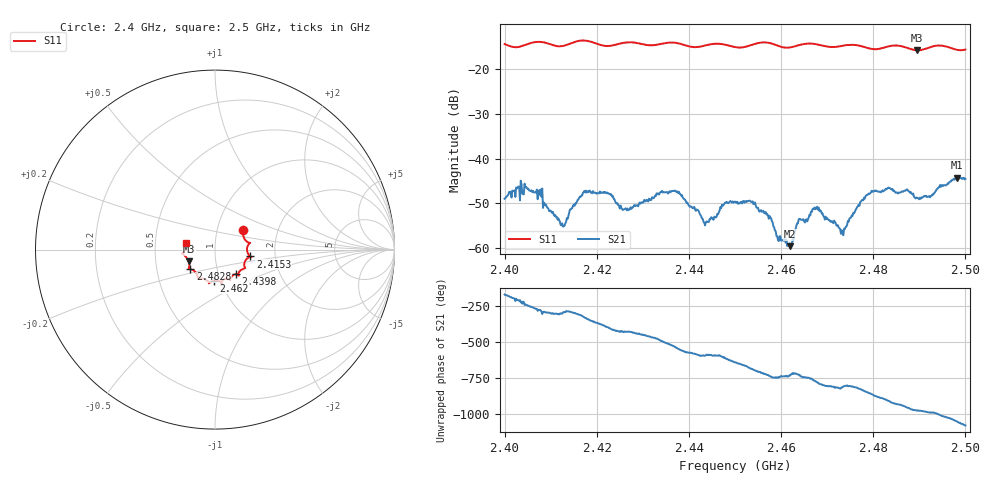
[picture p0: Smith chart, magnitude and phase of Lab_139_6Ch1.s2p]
# Hz S RI R 50
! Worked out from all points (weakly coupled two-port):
!   601 points, 2.4 GHz to 2.5 GHz, reference 50 ohm
!   highest |S21| = -44.24 dB at 2.4982 GHz (marker M1); lowest = -59.5 dB at 2.462 GHz (marker M2)
!   lowest |S11| = -15.9 dB at 2.4895 GHz (marker M3), VSWR 1.38, Z = 36.9 - j5 ohm
!   |S11| at or under -10 dB: start of sweep to end of sweep
!   S12 and S22 are empty: the file has one direction only
!   S11 on the Smith chart (normalised r, x): 2.4 GHz: 1.33, +0.29; 2.4153 GHz: 1.48, -0.12; 2.4398 GHz: 1.21, -0.34; 2.462 GHz: 0.93, -0.33; 2.4828 GHz: 0.74, -0.17; 2.5 GHz: 0.72, +0.06
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2.4e9  0.1556 0.1066  -0.00352 -0.000589  0 0  0 0
2.407667e9  0.1962 0.0375  0.000509 0.00395  0 0  0 0
2.412667e9  0.1793 -0.00986  0.00072 0.00159  0 0  0 0
2.415333e9  0.1964 -0.0384  0.00156 0.00275  0 0  0 0
2.416667e9  0.2022 -0.0426  0.00278 0.00268  0 0  0 0
2.422333e9  0.1661 -0.0682  0.00333 -0.00254  0 0  0 0
2.426667e9  0.1681 -0.1026  0.000985 -0.00259  0 0  0 0
2.433333e9  0.1309 -0.1336  -0.0021 -0.00351  0 0  0 0
2.439833e9  0.1156 -0.1364  -0.00254 0.00174  0 0  0 0
2.443833e9  0.086 -0.1623  -0.00132 0.00149  0 0  0 0
2.45e9  0.0648 -0.1625  0.000699 0.00325  0 0  0 0
2.453833e9  0.0355 -0.1829  0.00291 0.00163  0 0  0 0
2.462e9  -0.00498 -0.1731  0.00104 -0.000156  0 0  0 0
2.463833e9  -0.0259 -0.1815  0.00208 -0.000337  0 0  0 0
2.466667e9  -0.0341 -0.1878  0.00207 -0.00149  0 0  0 0
2.473333e9  -0.0827 -0.1605  -0.000153 -0.00152  0 0  0 0
2.4785e9  -0.1008 -0.1397  -0.00239 -0.00308  0 0  0 0
2.482833e9  -0.1367 -0.1094  -0.00453 0.000166  0 0  0 0
2.483333e9  -0.1404 -0.1094  -0.00466 0.000901  0 0  0 0
2.4895e9  -0.1463 -0.0659  -0.000746 0.00355  0 0  0 0
2.498167e9  -0.1628 0.00785  0.00546 0.0028  0 0  0 0
2.5e9  -0.1594 0.0391  0.00594 -0.000102  0 0  0 0
